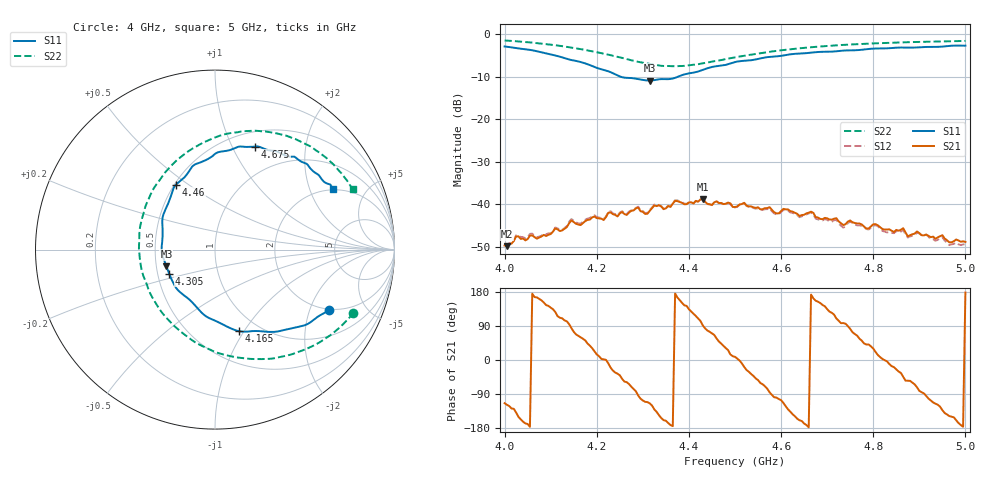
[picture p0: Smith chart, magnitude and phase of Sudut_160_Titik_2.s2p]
# Hz S RI R 50
! CMT, C1220, 16058040, 17.2.0/1
! Date: 15/08/2018 11:42:08
! Data: Format (Calibration Info)
! Freq  S11: Re/Im (F2)  S21: Re/Im (F2)  S12: Re/Im (F2)  S22: Re/Im (F2)
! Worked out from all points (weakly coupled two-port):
!   201 points, 4 GHz to 5 GHz, reference 50 ohm
!   highest |S21| = -38.72 dB at 4.43 GHz (marker M1); lowest = -49.8 dB at 4.005 GHz (marker M2)
!   lowest |S11| = -10.9 dB at 4.315 GHz (marker M3), VSWR 1.80, Z = 28.3 - j5.79 ohm
!   |S11| at or under -10 dB: 4.253 GHz to 4.376 GHz (122.8 MHz wide, 2.85 % of centre)
!   |S22| runs from -7.5 to -1.4 dB; largest |S21 - S12| = 0.0004
!   S11 on the Smith chart (normalised r, x): 4 GHz: 1.96, -2.74; 4.165 GHz: 0.81, -0.95; 4.305 GHz: 0.58, -0.17; 4.46 GHz: 0.51, +0.45; 4.675 GHz: 0.67, +1.23; 5 GHz: 1.97, +2.90
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4e9  0.6366 -0.3366  -0.00133 -0.00299  -0.00127 -0.00309  0.7713 -0.3523
4.005e9  0.6277 -0.3428  -0.00152 -0.00284  -0.00147 -0.00301  0.7627 -0.3638
4.025e9  0.5831 -0.3672  -0.00315 -0.00277  -0.00313 -0.00298  0.7233 -0.4065
4.125e9  0.2796 -0.4572  -0.00168 0.00464  -0.00181 0.00468  0.4368 -0.5804
4.145e9  0.2068 -0.4541  0.000667 0.00643  0.000499 0.00669  0.3607 -0.5984
4.165e9  0.1314 -0.4541  0.00282 0.00495  0.00284 0.00521  0.2818 -0.6094
4.17e9  0.1156 -0.4497  0.00337 0.005  0.00336 0.00525  0.2614 -0.61
4.23e9  -0.0747 -0.3513  0.00755 -0.00276  0.00782 -0.00279  -0.00173 -0.5693
4.245e9  -0.1124 -0.3094  0.00583 -0.00425  0.00599 -0.0043  -0.0646 -0.5404
4.29e9  -0.2327 -0.1853  -0.000636 -0.00916  -0.000635 -0.00936  -0.2449 -0.4069
4.305e9  -0.2555 -0.1339  -0.00268 -0.00723  -0.00279 -0.00736  -0.2943 -0.3523
4.315e9  -0.2706 -0.0941  -0.00348 -0.00764  -0.00352 -0.00781  -0.3239 -0.3089
4.335e9  -0.2949 -0.0274  -0.00806 -0.00551  -0.00822 -0.00544  -0.3723 -0.2171
4.43e9  -0.2485 0.29  -0.000298 0.0116  -7.72e-05 0.0115  -0.3863 0.2443
4.46e9  -0.2167 0.3623  0.00596 0.00906  0.00609 0.00893  -0.326 0.3636
4.5e9  -0.1339 0.4525  0.00921 0.00134  0.00912 0.00124  -0.2238 0.4872
4.52e9  -0.1046 0.4776  0.00991 -0.00326  0.00975 -0.00341  -0.1671 0.5341
4.585e9  0.0403 0.5468  -0.00116 -0.008  -0.0012 -0.00773  0.0259 0.6344
4.67e9  0.2172 0.5734  -0.00758 0.00236  -0.00725 0.00243  0.2595 0.659
4.675e9  0.225 0.5744  -0.0065 0.00282  -0.00618 0.00279  0.272 0.6591
4.835e9  0.483 0.4887  0.00498 -0.000944  0.00467 -0.000844  0.5871 0.5358
5e9  0.655 0.336  -0.00361 0.000132  -0.00341 -4.37e-06  0.7664 0.3369
